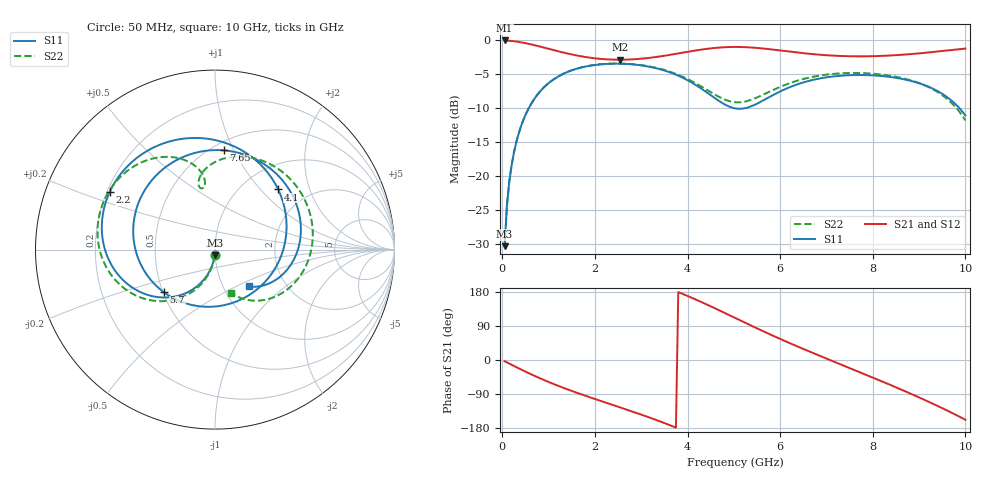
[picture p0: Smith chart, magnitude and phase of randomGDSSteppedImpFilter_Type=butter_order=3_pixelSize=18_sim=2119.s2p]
! freq	dB(S11)	phase(S11)	dB(S12)	phase(S12)
!  dB(S21)	phase(S21)	dB(S22)	phase(S22)
!S-par simulation data
#  GHz  S  DB  R 50
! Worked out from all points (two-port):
!   200 points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, 50 MHz to 10 GHz, reference 50 ohm
!   highest |S21| = -0.01 dB at 50 MHz (marker M1); lowest = -2.9 dB at 2.55 GHz (marker M2)
!   |S21| within 3 dB of the highest: start of sweep to end of sweep
!   lowest |S11| = -30.4 dB at 50 MHz (marker M3), VSWR 1.06, Z = 49.7 - j3.01 ohm
!   |S11| at or under -10 dB: start of sweep to 573.1 MHz; 5.002 GHz to 5.249 GHz (246.4 MHz wide, 4.81 % of centre); 9.869 GHz to end of sweep
!   |S22| runs from -30.4 to -3.4 dB; largest |S21 - S12| = 0
!   S11 on the Smith chart (normalised r, x): 50 MHz: 0.99, -0.06; 2.2 GHz: 0.21, +0.25; 4.1 GHz: 1.43, +1.26; 5.7 GHz: 0.51, -0.28; 7.65 GHz: 0.57, +0.91; 10 GHz: 1.32, -0.59
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0.05  -30.39 -93.4  -0.01 -3.2  -0.01 -3.2  -30.38 -93.1
0.1  -24.39 -96.9  -0.02 -6.3  -0.02 -6.3  -24.39 -96.3
0.2  -18.48 -103.6  -0.08 -12.6  -0.08 -12.6  -18.47 -102.5
0.5  -11.02 -122.5  -0.40 -30.7  -0.40 -30.7  -11.01 -119.9
1.05  -6.04 -153.9  -1.33 -60.5  -1.33 -60.5  -6.04 -148.2
1.75  -3.93 171.8  -2.40 -92.5  -2.40 -92.5  -3.92 -177.8
2.2  -3.49 151.2  -2.77 -111.1  -2.77 -111.1  -3.48 165.6
2.55  -3.44 135.0  -2.85 -125.4  -2.85 -125.4  -3.41 153.5
3.4  -4.25 91.3  -2.37 -161.7  -2.37 -161.7  -4.18 125.3
4.1  -6.26 43.6  -1.57 163.8  -1.57 163.8  -6.05 105.3
4.55  -8.33 1.4  -1.14 138.9  -1.14 138.9  -7.85 98.7
5.05  -10.06 -60.9  -0.96 109.7  -0.96 109.7  -9.14 101.5
5.35  -9.80 -100.5  -1.03 92.2  -1.03 92.2  -8.83 104.1
5.7  -8.62 -140.1  -1.24 72.1  -1.24 72.1  -7.80 102.3
6.2  -6.93 176.3  -1.65 44.8  -1.65 44.8  -6.33 91.2
6.7  -5.84 141.5  -2.02 18.9  -2.02 18.9  -5.38 74.7
7.2  -5.28 110.9  -2.27 -6.2  -2.27 -6.2  -4.91 55.8
7.65  -5.11 85.0  -2.35 -28.6  -2.35 -28.6  -4.81 37.6
8.35  -5.37 45.7  -2.24 -64.2  -2.24 -64.2  -5.19 7.9
9.2  -6.83 -2.4  -1.78 -109.8  -1.78 -109.8  -6.88 -30.8
9.6  -8.35 -25.4  -1.49 -132.9  -1.49 -132.9  -8.61 -50.1
10  -11.09 -47.5  -1.21 -157.6  -1.21 -157.6  -11.82 -69.4
